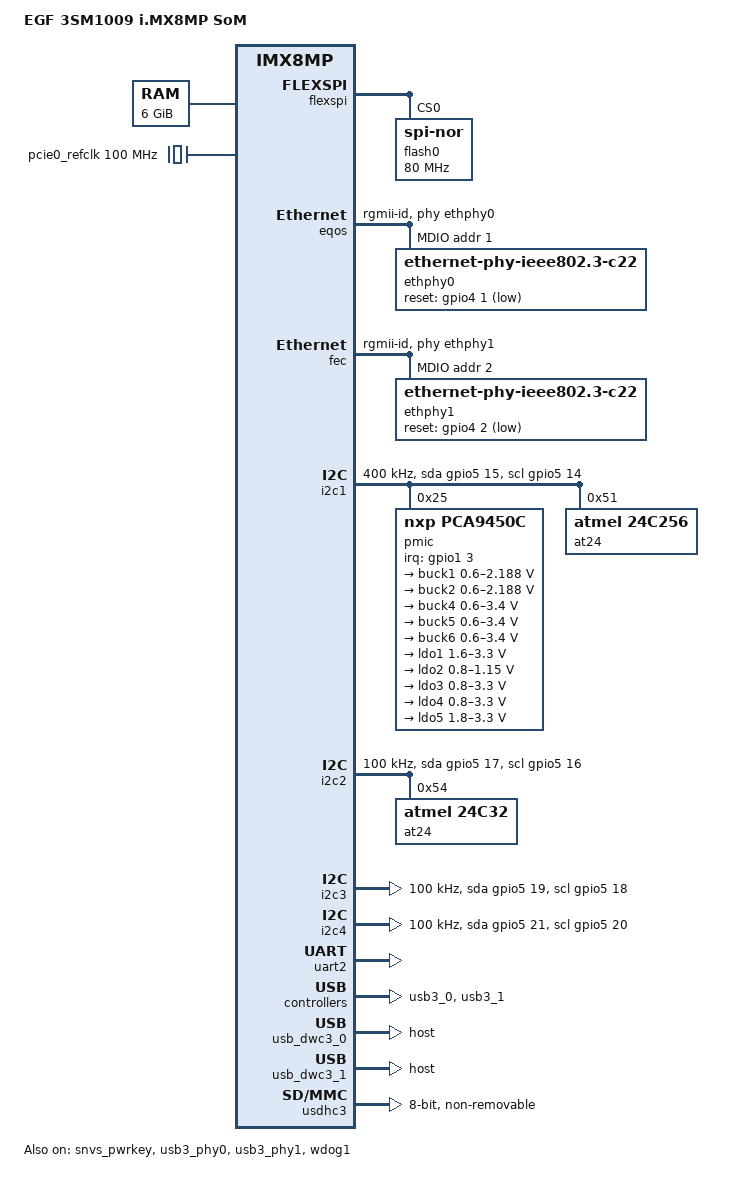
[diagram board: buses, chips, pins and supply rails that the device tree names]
// SPDX-License-Identifier: (GPL-2.0+ OR MIT)
/*
 * Copyright 2019 NXP
 */

/dts-v1/;

#include <dt-bindings/phy/phy-imx8-pcie.h>
#include <dt-bindings/usb/pd.h>
#include "imx8mp.dtsi"

/ {
	model = "EGF 3SM1009 i.MX8MP SoM";
	compatible = "egf,3sm1009", "fsl,imx8mp";

	chosen {
		bootargs = "console=ttymxc1,115200 earlycon=ec_imx6q,0x30890000,115200 quiet";
		stdout-path = &uart2;
	};

	memory@40000000 {
		device_type = "memory";
		reg = <0x0 0x40000000 0 0xc0000000>,
		      <0x1 0x00000000 0 0xc0000000>;
	};

	pcie0_refclk: pcie0-refclk {
		compatible = "fixed-clock";
			#clock-cells = <0>;
			clock-frequency = <100000000>;
	};
};

&flexspi {
	pinctrl-names = "default";
	pinctrl-0 = <&pinctrl_flexspi0>;
	status = "okay";

	flash0: flash@0 {
		reg = <0>;
		#address-cells = <1>;
		#size-cells = <1>;
		compatible = "jedec,spi-nor";
		spi-max-frequency = <80000000>;
		spi-tx-bus-width = <1>;
		spi-rx-bus-width = <4>;
	};
};

&A53_0 {
	cpu-supply = <&buck2>;
};

&A53_1 {
	cpu-supply = <&buck2>;
};

&A53_2 {
	cpu-supply = <&buck2>;
};

&A53_3 {
	cpu-supply = <&buck2>;
};

&eqos {
	pinctrl-names = "default";
	pinctrl-0 = <&pinctrl_eqos>;
	phy-mode = "rgmii-id";
	phy-handle = <&ethphy0>;
	snps,force_thresh_dma_mode;
	snps,mtl-tx-config = <&mtl_tx_setup>;
	snps,mtl-rx-config = <&mtl_rx_setup>;
	status = "okay";

	mdio {
		compatible = "snps,dwmac-mdio";
		#address-cells = <1>;
		#size-cells = <0>;

		ethphy0: ethernet-phy@1 {
			compatible = "ethernet-phy-ieee802.3-c22";
			reg = <1>;
			eee-broken-1000t;
			reset-gpios = <&gpio4 1 GPIO_ACTIVE_LOW>;
			reset-assert-us = <60000>;
			reset-deassert-us = <70000>;
			realtek,clkout-disable;
		};
	};

	mtl_tx_setup: tx-queues-config {
		snps,tx-queues-to-use = <5>;
		snps,tx-sched-sp;

		queue0 {
			snps,dcb-algorithm;
			snps,priority = <0x1>;
		};

		queue1 {
			snps,dcb-algorithm;
			snps,priority = <0x2>;
		};

		queue2 {
			snps,dcb-algorithm;
			snps,priority = <0x4>;
		};

		queue3 {
			snps,dcb-algorithm;
			snps,priority = <0x8>;
		};

		queue4 {
			snps,dcb-algorithm;
			snps,priority = <0xf0>;
		};
	};

	mtl_rx_setup: rx-queues-config {
		snps,rx-queues-to-use = <5>;
		snps,rx-sched-sp;

		queue0 {
			snps,dcb-algorithm;
			snps,priority = <0x1>;
			snps,map-to-dma-channel = <0>;
		};

		queue1 {
			snps,dcb-algorithm;
			snps,priority = <0x2>;
			snps,map-to-dma-channel = <1>;
		};

		queue2 {
			snps,dcb-algorithm;
			snps,priority = <0x4>;
			snps,map-to-dma-channel = <2>;
		};

		queue3 {
			snps,dcb-algorithm;
			snps,priority = <0x8>;
			snps,map-to-dma-channel = <3>;
		};

		queue4 {
			snps,dcb-algorithm;
			snps,priority = <0xf0>;
			snps,map-to-dma-channel = <4>;
		};
	};
};

&fec {
	pinctrl-names = "default";
	pinctrl-0 = <&pinctrl_fec>;
	phy-mode = "rgmii-id";
	phy-handle = <&ethphy1>;
	fsl,magic-packet;
	status = "okay";

	mdio {
		#address-cells = <1>;
		#size-cells = <0>;

		ethphy1: ethernet-phy@2 {
			compatible = "ethernet-phy-ieee802.3-c22";
			reg = <2>;
			eee-broken-1000t;
			reset-gpios = <&gpio4 2 GPIO_ACTIVE_LOW>;
			reset-assert-us = <60000>;
			reset-deassert-us = <70000>;
			realtek,aldps-enable;
			realtek,clkout-disable;
		};
	};
};

&i2c1 {
	clock-frequency = <400000>;
	pinctrl-names = "default", "gpio";
	pinctrl-0 = <&pinctrl_i2c1>;
	pinctrl-1 = <&pinctrl_i2c1_gpio>;
	scl-gpios = <&gpio5 14 GPIO_ACTIVE_HIGH>;
	sda-gpios = <&gpio5 15 GPIO_ACTIVE_HIGH>;
	status = "okay";

	pmic@25 {
		compatible = "nxp,pca9450c";
		reg = <0x25>;
		pinctrl-names = "default";
		pinctrl-0 = <&pinctrl_pmic>;
		interrupt-parent = <&gpio1>;
		interrupts = <3 IRQ_TYPE_LEVEL_LOW>;

		regulators {
			buck1: BUCK1 {
				regulator-name = "BUCK1";
				regulator-min-microvolt = <600000>;
				regulator-max-microvolt = <2187500>;
				regulator-boot-on;
				regulator-always-on;
				regulator-ramp-delay = <3125>;
			};

			buck2: BUCK2 {
				regulator-name = "BUCK2";
				regulator-min-microvolt = <600000>;
				regulator-max-microvolt = <2187500>;
				regulator-boot-on;
				regulator-always-on;
				regulator-ramp-delay = <3125>;
				nxp,dvs-run-voltage = <950000>;
				nxp,dvs-standby-voltage = <850000>;
			};

			buck4: BUCK4{
				regulator-name = "BUCK4";
				regulator-min-microvolt = <600000>;
				regulator-max-microvolt = <3400000>;
				regulator-boot-on;
				regulator-always-on;
			};

			buck5: BUCK5{
				regulator-name = "BUCK5";
				regulator-min-microvolt = <600000>;
				regulator-max-microvolt = <3400000>;
				regulator-boot-on;
				regulator-always-on;
			};

			buck6: BUCK6 {
				regulator-name = "BUCK6";
				regulator-min-microvolt = <600000>;
				regulator-max-microvolt = <3400000>;
				regulator-boot-on;
				regulator-always-on;
			};

			ldo1: LDO1 {
				regulator-name = "LDO1";
				regulator-min-microvolt = <1600000>;
				regulator-max-microvolt = <3300000>;
				regulator-boot-on;
				regulator-always-on;
			};

			ldo2: LDO2 {
				regulator-name = "LDO2";
				regulator-min-microvolt = <800000>;
				regulator-max-microvolt = <1150000>;
				regulator-boot-on;
				regulator-always-on;
			};

			ldo3: LDO3 {
				regulator-name = "LDO3";
				regulator-min-microvolt = <800000>;
				regulator-max-microvolt = <3300000>;
				regulator-boot-on;
				regulator-always-on;
			};

			ldo4: LDO4 {
				regulator-name = "LDO4";
				regulator-min-microvolt = <800000>;
				regulator-max-microvolt = <3300000>;
				regulator-boot-on;
				regulator-always-on;
			};

			ldo5: LDO5 {
				regulator-name = "LDO5";
				regulator-min-microvolt = <1800000>;
				regulator-max-microvolt = <3300000>;
				regulator-boot-on;
				regulator-always-on;
			};
		};
	};
	at24@50 {
		compatible = "atmel,24c256";
		pagesize = <32>;
		reg = <0x51>;
	};
};

&i2c2 {
	clock-frequency = <100000>;
	pinctrl-names = "default", "gpio";
	pinctrl-0 = <&pinctrl_i2c2>;
	pinctrl-1 = <&pinctrl_i2c2_gpio>;
	scl-gpios = <&gpio5 16 GPIO_ACTIVE_HIGH>;
	sda-gpios = <&gpio5 17 GPIO_ACTIVE_HIGH>;
	status = "okay";
	
	at24@54 {
		compatible = "atmel,24c32";
		pagesize = <32>;
		reg = <0x54>;
	};
	
};

&i2c3 {
	clock-frequency = <100000>;
	pinctrl-names = "default", "gpio";
	pinctrl-0 = <&pinctrl_i2c3>;
	pinctrl-1 = <&pinctrl_i2c3_gpio>;
	scl-gpios = <&gpio5 18 GPIO_ACTIVE_HIGH>;
	sda-gpios = <&gpio5 19 GPIO_ACTIVE_HIGH>;
	status = "okay";
};

&i2c4 {
	clock-frequency = <100000>;
	pinctrl-names = "default", "gpio";
	pinctrl-0 = <&pinctrl_i2c4>;
	pinctrl-1 = <&pinctrl_i2c4_gpio>;
	scl-gpios = <&gpio5 20 GPIO_ACTIVE_HIGH>;
	sda-gpios = <&gpio5 21 GPIO_ACTIVE_HIGH>;
	status = "okay";
};


&snvs_pwrkey {
	status = "okay";
};

&uart2 {
	/* console */
	pinctrl-names = "default";
	pinctrl-0 = <&pinctrl_uart2>;
	status = "okay";
};

&usb3_phy0 {
	fsl,phy-tx-vref-tune = <0xe>;
	fsl,phy-tx-preemp-amp-tune = <3>;
	fsl,phy-tx-vboost-level = <5>;
	fsl,phy-comp-dis-tune = <7>;
	fsl,pcs-tx-deemph-3p5db = <0x21>;
	fsl,phy-pcs-tx-swing-full = <0x7f>;
	status = "okay";
};

&usb3_0 {
	status = "okay";
};

&usb_dwc3_0 {
	pinctrl-names = "default";
	pinctrl-0 = <&pinctrl_usb0_vbus>;
	dr_mode = "host";
	status = "okay";
};

&usb3_phy1 {
	fsl,phy-tx-preemp-amp-tune = <3>;
	fsl,phy-tx-vref-tune = <0xb>;
	status = "okay";
};

&usb3_1 {
	status = "okay";
};

&usb_dwc3_1 {
	pinctrl-names = "default";
	pinctrl-0 = <&pinctrl_usb1_vbus>;
	dr_mode = "host";
	status = "okay";
};

&usdhc3 {
	assigned-clocks = <&clk IMX8MP_CLK_USDHC3>;
	assigned-clock-rates = <400000000>;
	pinctrl-names = "default", "state_100mhz", "state_200mhz";
	pinctrl-0 = <&pinctrl_usdhc3>;
	pinctrl-1 = <&pinctrl_usdhc3_100mhz>;
	pinctrl-2 = <&pinctrl_usdhc3_200mhz>;
	bus-width = <8>;
	non-removable;
	status = "okay";
};

&wdog1 {
	pinctrl-names = "default";
	pinctrl-0 = <&pinctrl_wdog>;
	fsl,ext-reset-output;
	status = "okay";
};

&iomuxc {
	pinctrl_eqos: eqosgrp {
		fsl,pins = <
			MX8MP_IOMUXC_ENET_MDC__ENET_QOS_MDC				0x2
			MX8MP_IOMUXC_ENET_MDIO__ENET_QOS_MDIO				0x2
			MX8MP_IOMUXC_ENET_RD0__ENET_QOS_RGMII_RD0			0x90
			MX8MP_IOMUXC_ENET_RD1__ENET_QOS_RGMII_RD1			0x90
			MX8MP_IOMUXC_ENET_RD2__ENET_QOS_RGMII_RD2			0x90
			MX8MP_IOMUXC_ENET_RD3__ENET_QOS_RGMII_RD3			0x90
			MX8MP_IOMUXC_ENET_RXC__CCM_ENET_QOS_CLOCK_GENERATE_RX_CLK	0x90
			MX8MP_IOMUXC_ENET_RX_CTL__ENET_QOS_RGMII_RX_CTL			0x90
			MX8MP_IOMUXC_ENET_TD0__ENET_QOS_RGMII_TD0			0x16
			MX8MP_IOMUXC_ENET_TD1__ENET_QOS_RGMII_TD1			0x16
			MX8MP_IOMUXC_ENET_TD2__ENET_QOS_RGMII_TD2			0x16
			MX8MP_IOMUXC_ENET_TD3__ENET_QOS_RGMII_TD3			0x16
			MX8MP_IOMUXC_ENET_TX_CTL__ENET_QOS_RGMII_TX_CTL			0x16
			MX8MP_IOMUXC_ENET_TXC__CCM_ENET_QOS_CLOCK_GENERATE_TX_CLK	0x16
			MX8MP_IOMUXC_SAI1_RXC__GPIO4_IO01				0x10
		>;
	};

	pinctrl_fec: fecgrp {
		fsl,pins = <
			MX8MP_IOMUXC_SAI1_RXD2__ENET1_MDC		0x2
			MX8MP_IOMUXC_SAI1_RXD3__ENET1_MDIO		0x2
			MX8MP_IOMUXC_SAI1_RXD4__ENET1_RGMII_RD0		0x90
			MX8MP_IOMUXC_SAI1_RXD5__ENET1_RGMII_RD1		0x90
			MX8MP_IOMUXC_SAI1_RXD6__ENET1_RGMII_RD2		0x90
			MX8MP_IOMUXC_SAI1_RXD7__ENET1_RGMII_RD3		0x90
			MX8MP_IOMUXC_SAI1_TXC__ENET1_RGMII_RXC		0x90
			MX8MP_IOMUXC_SAI1_TXFS__ENET1_RGMII_RX_CTL	0x90
			MX8MP_IOMUXC_SAI1_TXD0__ENET1_RGMII_TD0		0x16
			MX8MP_IOMUXC_SAI1_TXD1__ENET1_RGMII_TD1		0x16
			MX8MP_IOMUXC_SAI1_TXD2__ENET1_RGMII_TD2		0x16
			MX8MP_IOMUXC_SAI1_TXD3__ENET1_RGMII_TD3		0x16
			MX8MP_IOMUXC_SAI1_TXD4__ENET1_RGMII_TX_CTL	0x16
			MX8MP_IOMUXC_SAI1_TXD5__ENET1_RGMII_TXC		0x16
			MX8MP_IOMUXC_SAI1_RXD0__GPIO4_IO02		0x10
		>;
	};

	pinctrl_flexspi0: flexspi0grp {
		fsl,pins = <
			MX8MP_IOMUXC_NAND_ALE__FLEXSPI_A_SCLK           0x1c2
			MX8MP_IOMUXC_NAND_CE0_B__FLEXSPI_A_SS0_B        0x82
			MX8MP_IOMUXC_NAND_DATA00__FLEXSPI_A_DATA00      0x82
			MX8MP_IOMUXC_NAND_DATA01__FLEXSPI_A_DATA01      0x82
			MX8MP_IOMUXC_NAND_DATA02__FLEXSPI_A_DATA02      0x82
			MX8MP_IOMUXC_NAND_DATA03__FLEXSPI_A_DATA03      0x82
		>;
	};


	pinctrl_i2c1: i2c1grp {
		fsl,pins = <
			MX8MP_IOMUXC_I2C1_SCL__I2C1_SCL		0x400001c2
			MX8MP_IOMUXC_I2C1_SDA__I2C1_SDA		0x400001c2
		>;
	};

	pinctrl_i2c2: i2c2grp {
		fsl,pins = <
			MX8MP_IOMUXC_I2C2_SCL__I2C2_SCL		0x400001c2
			MX8MP_IOMUXC_I2C2_SDA__I2C2_SDA		0x400001c2
		>;
	};

	pinctrl_i2c3: i2c3grp {
		fsl,pins = <
			MX8MP_IOMUXC_I2C3_SCL__I2C3_SCL		0x400001c2
			MX8MP_IOMUXC_I2C3_SDA__I2C3_SDA		0x400001c2
		>;
	};
	
	pinctrl_i2c4: i2c4grp {
		fsl,pins = <
			MX8MP_IOMUXC_I2C4_SCL__I2C4_SCL		0x400001c2
			MX8MP_IOMUXC_I2C4_SDA__I2C4_SDA		0x400001c2
		>;
	};

	pinctrl_pmic: pmicirqgrp {
		fsl,pins = <
			MX8MP_IOMUXC_GPIO1_IO03__GPIO1_IO03	0x000001c0
		>;
	};
	pinctrl_i2c1_gpio: i2c1gpiogrp {
		fsl,pins = <
			MX8MP_IOMUXC_I2C1_SCL__GPIO5_IO14        	0x1c3
			MX8MP_IOMUXC_I2C1_SDA__GPIO5_IO15        	0x1c3
		>;
	};

	pinctrl_i2c2_gpio: i2c2gpiogrp {
		fsl,pins = <
			MX8MP_IOMUXC_I2C2_SCL__GPIO5_IO16        	0x1c3
			MX8MP_IOMUXC_I2C2_SDA__GPIO5_IO17        	0x1c3
		>;
	};

	pinctrl_i2c3_gpio: i2c3gpiogrp {
		fsl,pins = <
			MX8MP_IOMUXC_I2C3_SCL__GPIO5_IO18        	0x1c3
			MX8MP_IOMUXC_I2C3_SDA__GPIO5_IO19        	0x1c3
		>;
	};
	
	pinctrl_i2c4_gpio: i2c4gpiogrp {
		fsl,pins = <
			MX8MP_IOMUXC_I2C4_SCL__GPIO5_IO20        	0x1c3
			MX8MP_IOMUXC_I2C4_SDA__GPIO5_IO21        	0x1c3
		>;
	};

	pinctrl_uart2: uart2grp {
		fsl,pins = <
			MX8MP_IOMUXC_UART2_RXD__UART2_DCE_RX	0x140
			MX8MP_IOMUXC_UART2_TXD__UART2_DCE_TX	0x140
		>;
	};

	pinctrl_usb0_vbus: usb0grp {
		fsl,pins = <
			MX8MP_IOMUXC_GPIO1_IO12__USB1_PWR		0x10
		>;
	};

	pinctrl_usb1_vbus: usb1grp {
		fsl,pins = <
			MX8MP_IOMUXC_GPIO1_IO14__USB2_PWR		0x10
		>;
	};

	pinctrl_usdhc3: usdhc3grp {
		fsl,pins = <
			MX8MP_IOMUXC_NAND_WE_B__USDHC3_CLK	0x190
			MX8MP_IOMUXC_NAND_WP_B__USDHC3_CMD	0x1d0
			MX8MP_IOMUXC_NAND_DATA04__USDHC3_DATA0	0x1d0
			MX8MP_IOMUXC_NAND_DATA05__USDHC3_DATA1	0x1d0
			MX8MP_IOMUXC_NAND_DATA06__USDHC3_DATA2	0x1d0
			MX8MP_IOMUXC_NAND_DATA07__USDHC3_DATA3	0x1d0
			MX8MP_IOMUXC_NAND_RE_B__USDHC3_DATA4	0x1d0
			MX8MP_IOMUXC_NAND_CE2_B__USDHC3_DATA5	0x1d0
			MX8MP_IOMUXC_NAND_CE3_B__USDHC3_DATA6	0x1d0
			MX8MP_IOMUXC_NAND_CLE__USDHC3_DATA7	0x1d0
			MX8MP_IOMUXC_NAND_CE1_B__USDHC3_STROBE	0x190
		>;
	};

	pinctrl_usdhc3_100mhz: usdhc3-100mhzgrp {
		fsl,pins = <
			MX8MP_IOMUXC_NAND_WE_B__USDHC3_CLK	0x194
			MX8MP_IOMUXC_NAND_WP_B__USDHC3_CMD	0x1d4
			MX8MP_IOMUXC_NAND_DATA04__USDHC3_DATA0	0x1d4
			MX8MP_IOMUXC_NAND_DATA05__USDHC3_DATA1	0x1d4
			MX8MP_IOMUXC_NAND_DATA06__USDHC3_DATA2	0x1d4
			MX8MP_IOMUXC_NAND_DATA07__USDHC3_DATA3	0x1d4
			MX8MP_IOMUXC_NAND_RE_B__USDHC3_DATA4	0x1d4
			MX8MP_IOMUXC_NAND_CE2_B__USDHC3_DATA5	0x1d4
			MX8MP_IOMUXC_NAND_CE3_B__USDHC3_DATA6	0x1d4
			MX8MP_IOMUXC_NAND_CLE__USDHC3_DATA7	0x1d4
			MX8MP_IOMUXC_NAND_CE1_B__USDHC3_STROBE	0x194
		>;
	};

	pinctrl_usdhc3_200mhz: usdhc3-200mhzgrp {
		fsl,pins = <
			MX8MP_IOMUXC_NAND_WE_B__USDHC3_CLK	0x196
			MX8MP_IOMUXC_NAND_WP_B__USDHC3_CMD	0x1d6
			MX8MP_IOMUXC_NAND_DATA04__USDHC3_DATA0	0x1d6
			MX8MP_IOMUXC_NAND_DATA05__USDHC3_DATA1	0x1d6
			MX8MP_IOMUXC_NAND_DATA06__USDHC3_DATA2	0x1d6
			MX8MP_IOMUXC_NAND_DATA07__USDHC3_DATA3	0x1d6
			MX8MP_IOMUXC_NAND_RE_B__USDHC3_DATA4	0x1d6
			MX8MP_IOMUXC_NAND_CE2_B__USDHC3_DATA5	0x1d6
			MX8MP_IOMUXC_NAND_CE3_B__USDHC3_DATA6	0x1d6
			MX8MP_IOMUXC_NAND_CLE__USDHC3_DATA7	0x1d6
			MX8MP_IOMUXC_NAND_CE1_B__USDHC3_STROBE	0x196
		>;
	};

	pinctrl_wdog: wdoggrp {
		fsl,pins = <
			MX8MP_IOMUXC_GPIO1_IO02__WDOG1_WDOG_B	0x166
		>;
	};
};
